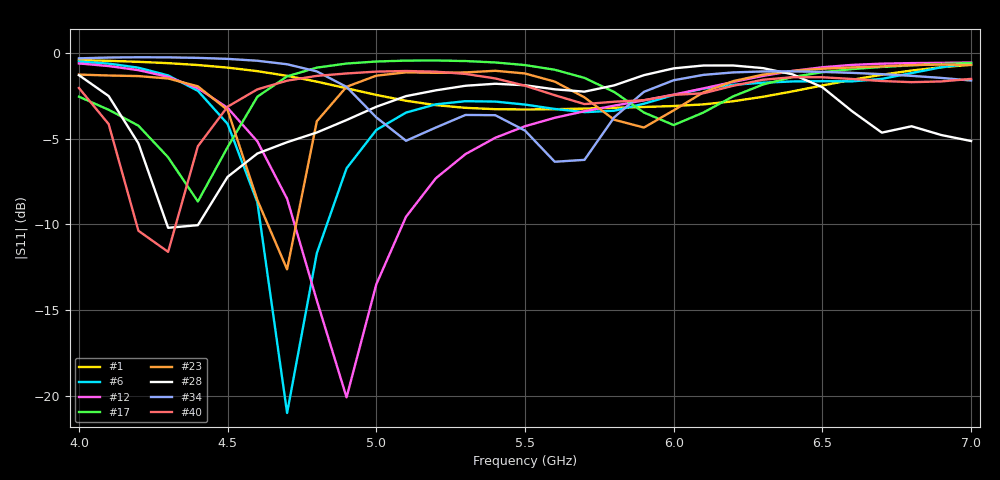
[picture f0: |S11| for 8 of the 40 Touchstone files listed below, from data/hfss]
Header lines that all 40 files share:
! Touchstone file exported from HFSS 2024.2.0
!  File:  C:/Users/wsak9/Desktop/Sim Fast/Widenad Patch/WP_AI_V1_sweep.aedt
!  Design:  A1_model
!  Project:  WP_AI_V1_sweep
!  Setup:  Setup1
!  Solution:  Sweep
! Variables:
!Data is not renormalized
# GHz S MA
! Terminal data exported
! Port[1] = 1
Fixed: Curve_len1 = 1, H_sub = 0.79mm
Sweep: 4 GHz to 7 GHz
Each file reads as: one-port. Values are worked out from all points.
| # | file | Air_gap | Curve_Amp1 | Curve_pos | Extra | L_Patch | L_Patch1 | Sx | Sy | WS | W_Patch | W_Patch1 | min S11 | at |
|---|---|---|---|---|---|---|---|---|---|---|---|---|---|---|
| 1 | run_0280.s1p | 4.32mm | 0.81 | 10.295mm | 5.27mm | 16.59mm | 16.62mm | 0.39mm | 3.23mm | 1.31mm | 10.56mm | 11.35mm | -3.3 dB | 5.5 GHz |
| 2 | run_0281.s1p | 2.34mm | 3.78 | 12.225mm | 6.39mm | 20.45mm | 14.97mm | 0.96mm | 1.03mm | 1.07mm | 19.73mm | 8.58mm | -11.0 dB | 4.5 GHz |
| 3 | run_0282.s1p | 3.61mm | 2.46 | 12.76mm | 5.62mm | 21.52mm | 16.59mm | 3.86mm | 2.03mm | 1.34mm | 20.91mm | 10.97mm | -13.2 dB | 4.4 GHz |
| 4 | run_0283.s1p | 4.05mm | 3.44 | 13.09mm | 4.57mm | 22.18mm | 13.93mm | 2.97mm | 0.97mm | 1.12mm | 17.48mm | 9.36mm | -9.6 dB | 4.4 GHz |
| 5 | run_0284.s1p | 2.82mm | 2.29 | 12.52mm | 3.57mm | 21.04mm | 19.64mm | 1.05mm | 2.48mm | 1.31mm | 20.71mm | 16.07mm | -6.9 dB | 4.2 GHz |
| 6 | run_0285.s1p | 1.82mm | 2.08 | 11.715mm | 2.98mm | 19.43mm | 17.68mm | 4.93mm | 3.91mm | 1.4mm | 18.76mm | 14.7mm | -21.0 dB | 4.7 GHz |
| 7 | run_0286.s1p | 2.5mm | 3.53 | 13.295mm | 3.93mm | 22.59mm | 19.26mm | 1.42mm | 4.2mm | 0.67mm | 14.09mm | 15.33mm | -11.9 dB | 4.3 GHz |
| 8 | run_0287.s1p | 4.75mm | 0.84 | 13.255mm | 6.83mm | 22.51mm | 15.25mm | 0.56mm | 2.8mm | 1.25mm | 20.37mm | 8.42mm | -7.4 dB | 4.3 GHz |
| 9 | run_0288.s1p | 1.55mm | 0.62 | 12.42mm | 0.52mm | 20.84mm | 17.22mm | 3.84mm | 2.94mm | 1.17mm | 20.55mm | 16.7mm | -9.9 dB | 4.4 GHz |
| 10 | run_0289.s1p | 2.33mm | 2.01 | 13.22mm | 4.84mm | 22.44mm | 18.35mm | 1.76mm | 4.67mm | 0.72mm | 15.27mm | 13.51mm | -19.3 dB | 4.2 GHz |
| 11 | run_0290.s1p | 3.04mm | 3.81 | 10.77mm | 6.61mm | 17.54mm | 19.82mm | 1.81mm | 4.58mm | 1.24mm | 12.03mm | 13.21mm | -12.1 dB | 5.2 GHz |
| 12 | run_0291.s1p | 3.59mm | 1.1 | 11.645mm | 5.88mm | 19.29mm | 15.29mm | 2.08mm | 4.06mm | 0.93mm | 20.79mm | 9.41mm | -20.1 dB | 4.9 GHz |
| 13 | run_0292.s1p | 3.56mm | 2.78 | 12.46mm | 5.65mm | 20.92mm | 19.74mm | 4.44mm | 1.69mm | 1.14mm | 11.74mm | 14.09mm | -14.5 dB | 4.6 GHz |
| 14 | run_0293.s1p | 3.76mm | 1.71 | 11.64mm | 6.77mm | 19.28mm | 15.25mm | 3.7mm | 1.53mm | 0.51mm | 16.56mm | 8.48mm | -5.5 dB | 4.9 GHz |
| 15 | run_0294.s1p | 3.99mm | 2.87 | 10.425mm | 1.95mm | 16.85mm | 11.26mm | 0.89mm | 1.07mm | 0.97mm | 20.02mm | 9.31mm | -6.6 dB | 5.5 GHz |
| 16 | run_0295.s1p | 3.12mm | 1.33 | 12.75mm | 3.53mm | 21.5mm | 13.94mm | 1.9mm | 0.83mm | 0.53mm | 13.94mm | 10.41mm | -7.9 dB | 4.7 GHz |
| 17 | run_0296.s1p | 3.67mm | 3.38 | 13.07mm | 2.62mm | 22.14mm | 12.95mm | 4.96mm | 4.65mm | 0.99mm | 22.3mm | 10.33mm | -8.7 dB | 4.4 GHz |
| 18 | run_0297.s1p | 2.66mm | 2.19 | 12.505mm | 4.64mm | 21.01mm | 16.98mm | 1.88mm | 2.82mm | 0.35mm | 17.39mm | 12.34mm | -4.4 dB | 4.4 GHz |
| 19 | run_0298.s1p | 4.42mm | 1.44 | 9.76mm | 7.91mm | 15.52mm | 24.65mm | 4.56mm | 2.95mm | 1.29mm | 12.45mm | 16.74mm | -3.3 dB | 6.3 GHz |
| 20 | run_0299.s1p | 4.53mm | 2.85 | 11.11mm | 5.41mm | 18.22mm | 18.04mm | 0.37mm | 1.16mm | 0.89mm | 13.02mm | 12.63mm | -13.3 dB | 5.6 GHz |
| 21 | run_0300.s1p | 4.86mm | 1.77 | 12.015mm | 1.56mm | 20.03mm | 18.35mm | 0.36mm | 4.34mm | 0.27mm | 13.89mm | 16.79mm | -4.8 dB | 5 GHz |
| 22 | run_0301.s1p | 4.69mm | 3.98 | 12.69mm | 1.79mm | 21.38mm | 12.24mm | 4.48mm | 1.19mm | 0.95mm | 16.19mm | 10.45mm | -22.0 dB | 4.5 GHz |
| 23 | run_0302.s1p | 2.25mm | 3.5 | 12.15mm | 2.26mm | 20.3mm | 12.79mm | 1.22mm | 1.98mm | 1.19mm | 17.42mm | 10.53mm | -12.6 dB | 4.7 GHz |
| 24 | run_0303.s1p | 1.86mm | 1.28 | 12.315mm | 3.54mm | 20.63mm | 14.45mm | 2.69mm | 3.34mm | 0.98mm | 18.65mm | 10.91mm | -6.9 dB | 4.6 GHz |
| 25 | run_0304.s1p | 3.63mm | 3.7 | 11.215mm | 7.59mm | 18.43mm | 23.26mm | 3.98mm | 1.25mm | 0.56mm | 19.97mm | 15.67mm | -13.3 dB | 5.7 GHz |
| 26 | run_0305.s1p | 3.38mm | 3.1 | 12.565mm | 7.62mm | 21.13mm | 20.98mm | 2.91mm | 1.33mm | 0.65mm | 21.04mm | 13.36mm | -7.5 dB | 5 GHz |
| 27 | run_0306.s1p | 4.54mm | 3.75 | 13.3mm | 2.58mm | 22.6mm | 15.7mm | 0.79mm | 3.03mm | 0.38mm | 15.21mm | 13.12mm | -10.2 dB | 4.3 GHz |
| 28 | run_0307.s1p | 2.28mm | 2.83 | 11.835mm | 7.34mm | 19.67mm | 18.58mm | 3.08mm | 2.33mm | 0.87mm | 22.97mm | 11.24mm | -10.2 dB | 4.3 GHz |
| 29 | run_0308.s1p | 2.45mm | 0.55 | 10.6mm | 7.74mm | 17.2mm | 18.86mm | 1.83mm | 2.44mm | 1.05mm | 15.38mm | 11.12mm | -6.5 dB | 4.9 GHz |
| 30 | run_0309.s1p | 2.18mm | 2.43 | 13.465mm | 1.9mm | 22.93mm | 13.58mm | 3.16mm | 0.65mm | 0.86mm | 16.98mm | 11.68mm | -13.2 dB | 4.2 GHz |
| 31 | run_0310.s1p | 4.72mm | 1.39 | 12.3mm | 4.4mm | 20.6mm | 20mm | 3.21mm | 3.31mm | 1.24mm | 14.5mm | 15.6mm | -6.3 dB | 4.9 GHz |
| 32 | run_0311.s1p | 4.24mm | 1.51 | 11.67mm | 7.46mm | 19.34mm | 16.68mm | 4.9mm | 4.03mm | 0.23mm | 17.33mm | 9.22mm | -4.2 dB | 4.9 GHz |
| 33 | run_0312.s1p | 3.54mm | 2.4 | 13.435mm | 2.64mm | 22.87mm | 13.7mm | 1.1mm | 2.21mm | 0.89mm | 22.22mm | 11.06mm | -11.2 dB | 4.2 GHz |
| 34 | run_0313.s1p | 1.71mm | 3.92 | 9.955mm | 3.28mm | 15.91mm | 12.88mm | 1.53mm | 2.32mm | 0.78mm | 11.99mm | 9.6mm | -6.4 dB | 5.6 GHz |
| 35 | run_0314.s1p | 3.27mm | 1.24 | 9.885mm | 5.45mm | 15.77mm | 17.91mm | 2.67mm | 3.11mm | 0.98mm | 22.14mm | 12.46mm | -15.8 dB | 6.4 GHz |
| 36 | run_0315.s1p | 3.07mm | 1.04 | 10.33mm | 4.02mm | 16.66mm | 15.05mm | 4.59mm | 1.74mm | 0.39mm | 15.39mm | 11.03mm | -7.4 dB | 6.2 GHz |
| 37 | run_0316.s1p | 4.14mm | 2.93 | 11.56mm | 2.8mm | 19.12mm | 15.22mm | 2.17mm | 1.51mm | 0.97mm | 20.33mm | 12.42mm | -11.6 dB | 4.8 GHz |
| 38 | run_0317.s1p | 3.98mm | 1.12 | 10.515mm | 6.64mm | 17.03mm | 15.72mm | 3.78mm | 3.28mm | 0.42mm | 17mm | 9.08mm | -6.1 dB | 6 GHz |
| 39 | run_0318.s1p | 3.2mm | 3.57 | 12.595mm | 2.2mm | 21.19mm | 11.23mm | 2.73mm | 0.78mm | 1.34mm | 12.83mm | 9.03mm | -6.9 dB | 4.7 GHz |
| 40 | run_0319.s1p | 1.52mm | 1.78 | 12.4mm | 4.74mm | 20.8mm | 18.3mm | 0.74mm | 1.94mm | 0.84mm | 17.23mm | 13.56mm | -11.6 dB | 4.3 GHz |
